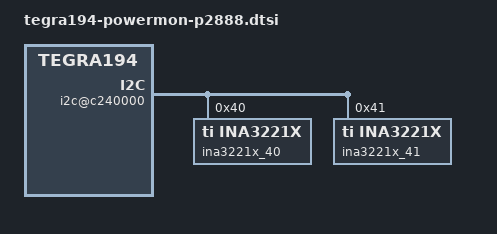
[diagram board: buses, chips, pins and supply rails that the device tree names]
/*
 * Copyright (c) 2017, NVIDIA CORPORATION.  All rights reserved.
 *
 * This program is free software; you can redistribute it and/or modify
 * it under the terms of the GNU General Public License as published by
 * the Free Software Foundation; version 2 of the License.
 *
 * This program is distributed in the hope that it will be useful, but WITHOUT
 * ANY WARRANTY; without even the implied warranty of MERCHANTABILITY or
 * FITNESS FOR A PARTICULAR PURPOSE.  See the GNU General Public License for
 * more details.
 */

/ {
	p2888_shuntv_offset: shuntv-offset {
		offset = <0>;
		conditional_offset@0 {
			shunt_volt_start = <0xFFFFFFD8>;
			shunt_volt_end = <0xFFFFFFD8>;
			offset = <40>;
		};
	};

	i2c@c240000 {
		ina3221x_40: ina3221x@40 {
			compatible = "ti,ina3221x";
			reg = <0x40>;
			ti,trigger-config = <0x7003>;
			ti,continuous-config = <0x7c07>;
			ti,enable-forced-continuous;
			#address-cells = <1>;
			#size-cells = <0>;
			#io-channel-cells = <1>;
			channel@0 {
				reg = <0x0>;
				ti,rail-name = "GPU";
				ti,shunt-resistor-mohm = <5>;
				shunt-volt-offset-uv = <&p2888_shuntv_offset>;
			};
			channel@1 {
				reg = <0x1>;
				ti,rail-name = "CPU";
				ti,shunt-resistor-mohm = <5>;
				shunt-volt-offset-uv = <&p2888_shuntv_offset>;
			};
			channel@2 {
				reg = <0x2>;
				ti,rail-name = "SOC";
				ti,shunt-resistor-mohm = <5>;
				shunt-volt-offset-uv = <&p2888_shuntv_offset>;
			};
		};
		ina3221x_41: ina3221x@41 {
			compatible = "ti,ina3221x";
			reg = <0x41>;
			ti,trigger-config = <0x7003>;
			ti,continuous-config = <0x7c07>;
			ti,enable-forced-continuous;
			#address-cells = <1>;
			#size-cells = <0>;
			#io-channel-cells = <1>;
			channel@0 {
				reg = <0x0>;
				ti,rail-name = "CV";
				ti,shunt-resistor-mohm = <5>;
				shunt-volt-offset-uv = <&p2888_shuntv_offset>;
			};
			channel@1 {
				reg = <0x1>;
				ti,rail-name = "VDDRQ";
				ti,shunt-resistor-mohm = <5>;
				shunt-volt-offset-uv = <&p2888_shuntv_offset>;
			};
			channel@2 {
				reg = <0x2>;
				ti,rail-name = "SYS5V";
				ti,shunt-resistor-mohm = <5>;
				shunt-volt-offset-uv = <&p2888_shuntv_offset>;
			};
		};
	};
};
